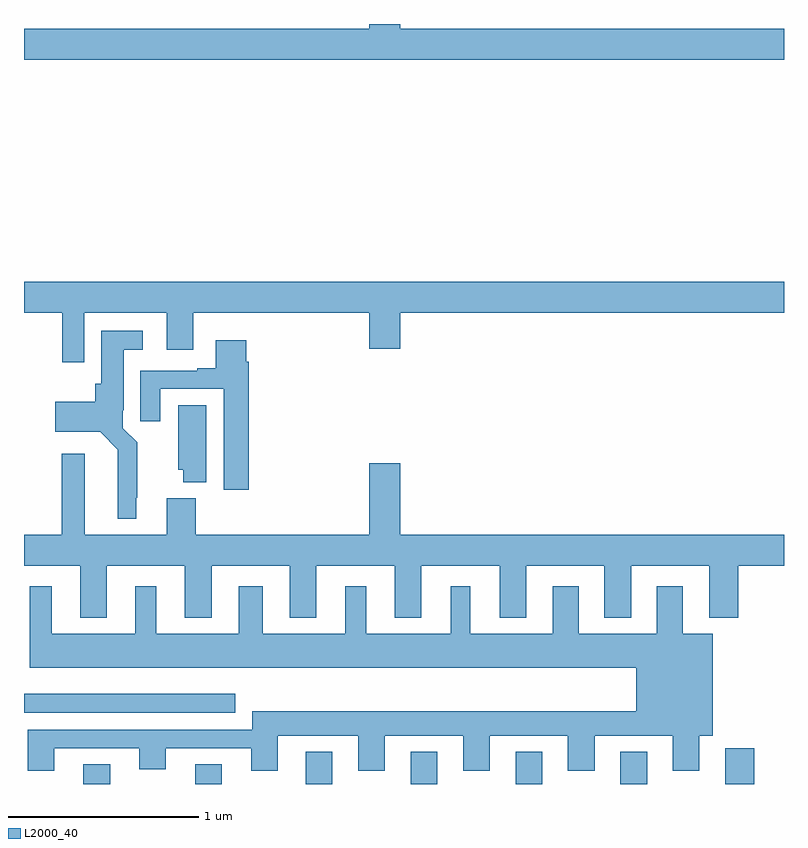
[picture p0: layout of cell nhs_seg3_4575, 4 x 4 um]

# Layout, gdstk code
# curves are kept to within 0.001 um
import gdstk
lib = gdstk.Library(unit=1e-6, precision=1e-09)
def R(c, l, rs):  # rectangles x0, y0, x1, y1
    for r in rs: c.add(gdstk.rectangle(r[:2], r[2:], *l))
def A(c, l, x, y, w, h, nx, ny, dx, dy):  # array of equal rectangles
    R(c, l, [(x+i*dx, y+j*dy, x+i*dx+w, y+j*dy+h) for i in range(nx) for j in range(ny)])
def P(c, l, *ps):  # polygons
    for p in ps: c.add(gdstk.Polygon(p, *l))
L2000_40 = (2000, 40)

nhs_seg3_4575 = lib.new_cell('nhs_seg3_4575')
A(nhs_seg3_4575, L2000_40, 356.483, 734.4, 0.14, 0.169, 4, 1, 0.552, 0)
R(nhs_seg3_4575, L2000_40, [(355.313,734.4,355.453,734.504), (355.901,734.4,356.041,734.504), (358.691,734.4,358.844,734.587), (355,734.774,356.113,734.875)])
P(nhs_seg3_4575, L2000_40, [(359,738.376),(356.98,738.376),(356.98,738.4),(356.816,738.4),(356.816,738.376),(355,738.376),(355,738.212),(359,738.212)],
  [(355.317,736.88),(355.751,736.88),(355.751,736.686),(355.891,736.686),(355.891,736.88),(356.816,736.88),(356.816,736.692),(356.98,736.692),(356.98,736.88),(359,736.88),(359,737.044),(355,737.044),(355,736.88),(355.201,736.88),(355.201,736.62),(355.317,736.62)],
  [(355.591,735.907),(355.595,735.907),(355.595,736.198),(355.521,736.272),(355.521,736.366),(355.525,736.366),(355.525,736.685),(355.624,736.685),(355.624,736.786),(355.406,736.786),(355.406,736.506),(355.376,736.506),(355.376,736.411),(355.164,736.411),(355.164,736.253),(355.401,736.253),(355.494,736.16),(355.493,735.797),(355.591,735.797)],
  [(356.183,736.622),(356.17,736.622),(356.17,736.735),(356.009,736.735),(356.009,736.588),(355.913,736.588),(355.913,736.575),(355.613,736.575),(355.613,736.308),(355.717,736.308),(355.717,736.479),(356.051,736.479),(356.051,735.948),(356.183,735.948)],
  [(355.96,736.394),(355.811,736.394),(355.811,736.053),(355.838,736.053),(355.838,735.989),(355.96,735.989)],
  [(355.435,735.548),(355.847,735.548),(355.847,735.275),(355.987,735.275),(355.987,735.548),(356.399,735.548),(356.399,735.275),(356.539,735.275),(356.539,735.548),(356.951,735.548),(356.951,735.275),(357.091,735.275),(357.091,735.548),(357.503,735.548),(357.503,735.275),(357.643,735.275),(357.643,735.548),(358.055,735.548),(358.055,735.275),(358.195,735.275),(358.195,735.548),(358.607,735.548),(358.607,735.275),(358.76,735.275),(358.76,735.548),(359,735.548),(359,735.712),(356.98,735.712),(356.98,736.087),(356.816,736.087),(356.816,735.712),(355.904,735.712),(355.904,735.904),(355.751,735.904),(355.751,735.712),(355.321,735.712),(355.321,736.138),(355.199,736.138),(355.199,735.712),(355,735.712),(355,735.548),(355.295,735.548),(355.295,735.275),(355.435,735.275)],
  [(355.159,734.589),(355.607,734.589),(355.607,734.477),(355.747,734.477),(355.747,734.589),(356.195,734.589),(356.195,734.469),(356.335,734.469),(356.335,734.654),(356.759,734.654),(356.759,734.469),(356.899,734.469),(356.899,734.654),(357.311,734.654),(357.311,734.469),(357.451,734.469),(357.451,734.654),(357.863,734.654),(357.863,734.469),(358.003,734.469),(358.003,734.654),(358.415,734.654),(358.415,734.469),(358.555,734.469),(358.555,734.654),(358.624,734.654),(358.624,735.19),(358.468,735.19),(358.468,735.442),(358.331,735.442),(358.331,735.19),(357.919,735.19),(357.919,735.442),(357.782,735.442),(357.782,735.19),(357.349,735.19),(357.349,735.442),(357.245,735.442),(357.245,735.19),(356.8,735.19),(356.8,735.442),(356.69,735.442),(356.69,735.19),(356.257,735.19),(356.257,735.442),(356.129,735.442),(356.129,735.19),(355.696,735.19),(355.696,735.442),(355.586,735.442),(355.586,735.19),(355.147,735.19),(355.147,735.442),(355.031,735.442),(355.031,735.011),(358.223,735.011),(358.223,734.782),(356.201,734.782),(356.201,734.685),(355.019,734.685),(355.019,734.469),(355.159,734.469)])

lib.write_gds('nhs_seg3_4575.gds')
